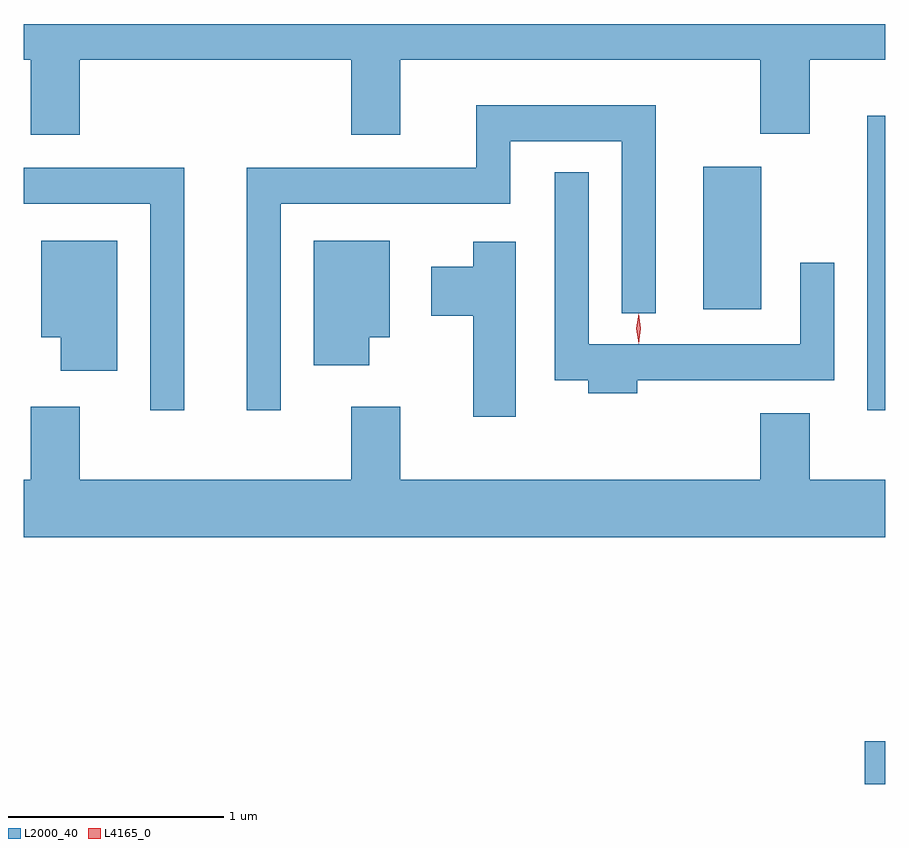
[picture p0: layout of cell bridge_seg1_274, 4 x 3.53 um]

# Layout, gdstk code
import gdstk
lib = gdstk.Library(unit=1e-6, precision=1e-09)
def R(c, l, rs):  # rectangles x0, y0, x1, y1
    for r in rs: c.add(gdstk.rectangle(r[:2], r[2:], *l))
def P(c, l, *ps):  # polygons
    for p in ps: c.add(gdstk.Polygon(p, *l))
L2000_40 = (2000, 40)
L4165_0 = (4165, 0)

bridge_seg1_274 = lib.new_cell('bridge_seg1_274')
R(bridge_seg1_274, L2000_40, [(842.416,893.991,842.51,894.189), (842.426,895.728,842.51,897.094), (841.666,896.196,841.934,896.859)])
P(bridge_seg1_274, L2000_40, [(838.769,897.356),(840.031,897.356),(840.031,897.006),(840.259,897.006),(840.259,897.356),(841.931,897.356),(841.931,897.011),(842.159,897.011),(842.159,897.356),(842.51,897.356),(842.51,897.521),(838.51,897.521),(838.51,897.356),(838.541,897.356),(838.541,897.006),(838.769,897.006)],
  [(839.704,896.686),(840.769,896.686),(840.769,896.976),(841.286,896.976),(841.286,896.178),(841.444,896.178),(841.444,897.144),(840.611,897.144),(840.611,896.854),(839.546,896.854),(839.546,895.728),(839.704,895.728)],
  [(839.254,896.854),(838.51,896.854),(838.51,896.686),(839.096,896.686),(839.096,895.728),(839.254,895.728)],
  [(841.359,895.866),(842.274,895.866),(842.274,896.413),(842.116,896.413),(842.116,896.034),(841.134,896.034),(841.134,896.833),(840.976,896.833),(840.976,895.866),(841.131,895.866),(841.131,895.806),(841.359,895.806)],
  [(838.944,896.514),(838.591,896.514),(838.591,896.066),(838.681,896.066),(838.681,895.911),(838.944,895.911)],
  [(840.114,896.066),(840.209,896.066),(840.209,896.514),(839.856,896.514),(839.856,895.936),(840.114,895.936)],
  [(840.794,896.509),(840.596,896.509),(840.596,896.394),(840.401,896.394),(840.401,896.166),(840.596,896.166),(840.596,895.696),(840.794,895.696)],
  [(840.031,895.744),(840.031,895.404),(838.769,895.404),(838.769,895.744),(838.541,895.744),(838.541,895.404),(838.51,895.404),(838.51,895.136),(842.51,895.136),(842.51,895.404),(842.159,895.404),(842.159,895.714),(841.931,895.714),(841.931,895.404),(840.259,895.404),(840.259,895.744)])
P(bridge_seg1_274, L4165_0, [(841.365,896.037),(841.365,896.037),(841.355,896.107),(841.365,896.176),(841.365,896.176),(841.366,896.176),(841.375,896.107),(841.366,896.037)],
  [(841.365,896.039),(841.365,896.04),(841.355,896.106),(841.365,896.172),(841.365,896.173),(841.366,896.172),(841.375,896.106),(841.366,896.04)])

lib.write_gds('bridge_seg1_274.gds')
